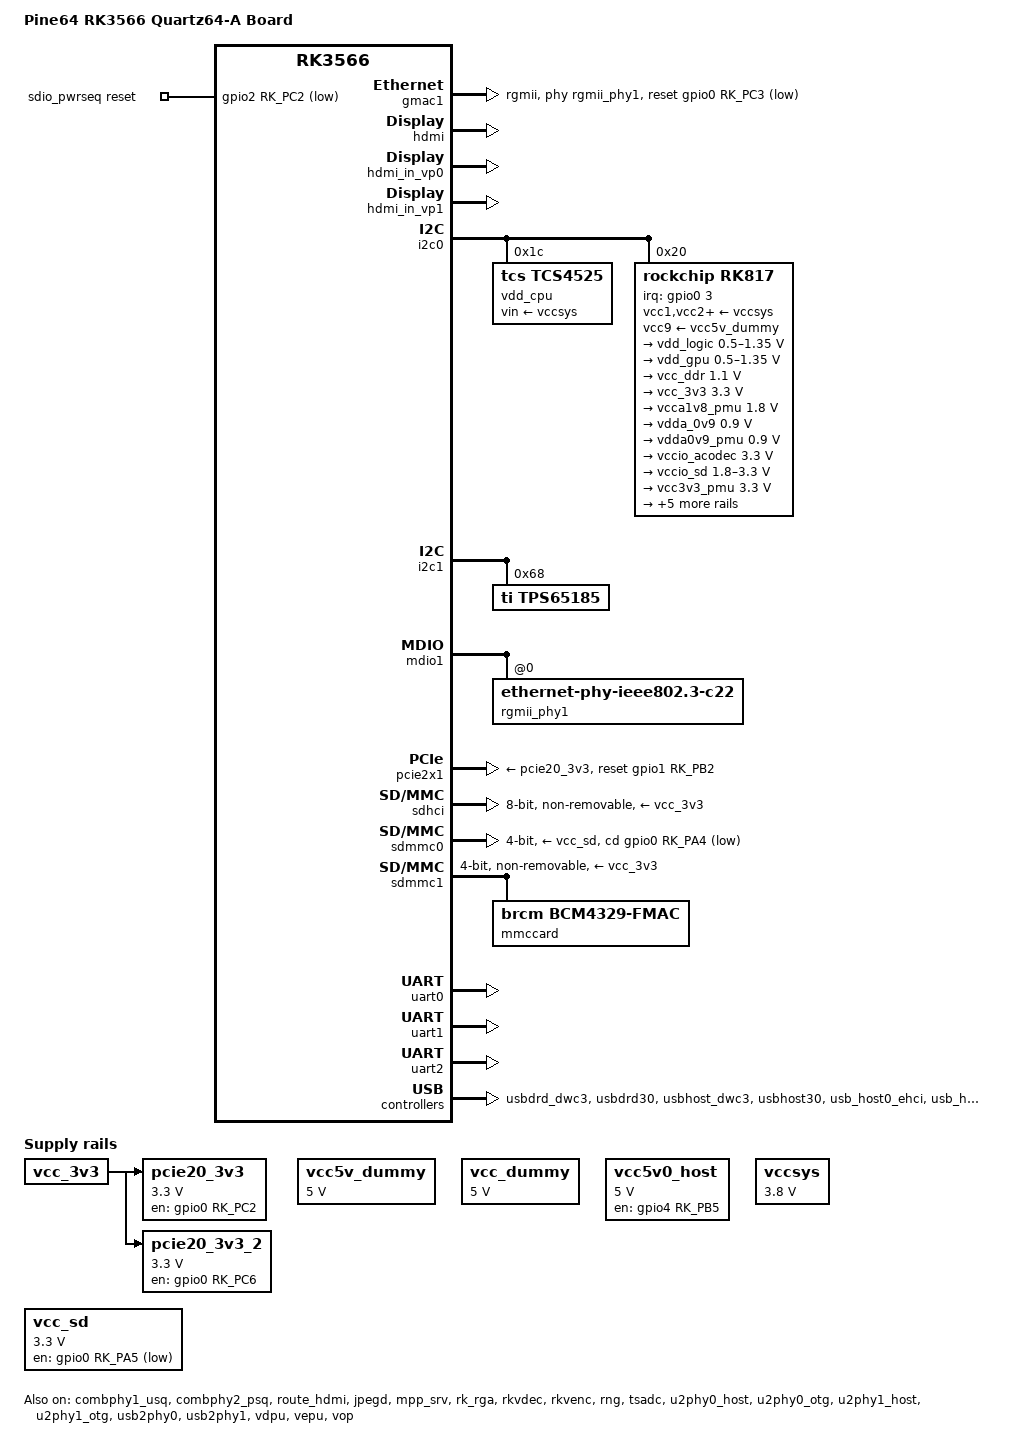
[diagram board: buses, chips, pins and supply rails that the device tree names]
// SPDX-License-Identifier: (GPL-2.0+ OR MIT)
/*
 *
 */

/dts-v1/;

#include <dt-bindings/gpio/gpio.h>
#include <dt-bindings/pinctrl/rockchip.h>
#include "rk3566.dtsi"

/ {
	model = "Pine64 RK3566 Quartz64-A Board";
	compatible = "rockchip,rk3566-quartz64-a", "rockchip,rk3566";

	aliases {
		mmc0 = &sdmmc0;
		mmc1 = &sdhci;
		mmc2 = &sdmmc1;
		mmc3 = &sdmmc2;
	};

	chosen: chosen {
	};

	pcie20_3v3: pcie20_3v3 {
		compatible = "regulator-fixed";
		regulator-name = "pcie20_3v3";
		regulator-min-microvolt = <3300000>;
		regulator-max-microvolt = <3300000>;
		gpio = <&gpio0 RK_PC2 GPIO_ACTIVE_HIGH>;
		enable-active-high;
		regulator-always-on;
		vin-supply = <&vcc_3v3>;
	};

	pcie20_3v3_2: pcie20_3v3_2 {
		compatible = "regulator-fixed";
		regulator-name = "pcie20_3v3_2";
		regulator-min-microvolt = <3300000>;
		regulator-max-microvolt = <3300000>;
		gpio = <&gpio0 RK_PC6 GPIO_ACTIVE_HIGH>;
		enable-active-high;
		regulator-always-on;
		vin-supply = <&vcc_3v3>;
	};

	vcc5v_dummy: vcc5v_dummy {
		compatible = "regulator-fixed";
		regulator-name = "vcc5v_dummy";
		regulator-min-microvolt = <5000000>;
		regulator-max-microvolt = <5000000>;
		regulator-always-on;
	};

	vcc_dummy: vcc_dummy {
		compatible = "regulator-fixed";
		regulator-name = "vcc_dummy";
		regulator-min-microvolt = <5000000>;
		regulator-max-microvolt = <5000000>;
		regulator-always-on;
	};

	vcc5v0_host: vcc5v0_host {
		compatible = "regulator-fixed";
		regulator-name = "vcc5v0_host";
		regulator-min-microvolt = <5000000>;
		regulator-max-microvolt = <5000000>;
		gpio = <&gpio4 RK_PB5 GPIO_ACTIVE_HIGH>;
		enable-active-high;
		regulator-always-on;
//		pinctrl-names = "default";
//		pinctrl-0 = <&vcc5_gpio>;
	};

/*	vcc5v0_bt: vcc5v0_bt {
		compatible = "regulator-fixed";
		regulator-name = "vcc5v0_bt";
		regulator-min-microvolt = <5000000>;
		regulator-max-microvolt = <5000000>;
		gpio = <&gpio2 RK_PB7 GPIO_ACTIVE_HIGH>;
		enable-active-high;
		regulator-always-on;
	};
*/
	vcc5v0_wifi: vcc5v0_wifi {
		compatible = "regulator-fixed";
		regulator-name = "vcc5v0_wifi";
		regulator-min-microvolt = <5000000>;
		regulator-max-microvolt = <5000000>;
		gpio = <&gpio2 RK_PC2 GPIO_ACTIVE_HIGH>;
		enable-active-high;
		regulator-always-on;
		status = "disabled";
	};

	hdmi_sound: hdmi-sound {
		compatible = "simple-audio-card";
		simple-audio-card,format = "i2s";
		simple-audio-card,mclk-fs = <256>;
		simple-audio-card,name = "rockchip,hdmi";
		status = "okay";

		simple-audio-card,cpu {
				sound-dai = <&i2s0_8ch>;
		};
		simple-audio-card,codec {
				sound-dai = <&hdmi>;
		};
	};

	vccsys: vccsys {
		compatible = "regulator-fixed";
		regulator-name = "vcc3v8_sys";
		regulator-always-on;
		regulator-boot-on;
		regulator-min-microvolt = <3800000>;
		regulator-max-microvolt = <3800000>;
	};

	rk817-sound {
		compatible = "simple-audio-card";
		simple-audio-card,format = "i2s";
		simple-audio-card,name = "rockchip,rk817-codec";
		simple-audio-card,mclk-fs = <256>;

		simple-audio-card,cpu {
			sound-dai = <&i2s1_8ch>;
		};
		simple-audio-card,codec {
			sound-dai = <&rk817_codec>;
		};
	};

	sdio_pwrseq: sdio-pwrseq {
		status = "okay";
		compatible = "mmc-pwrseq-simple";
		clocks = <&rk817 1>;
		clock-names = "ext_clock";
//		pinctrl-names = "default";
//		pinctrl-0 = <&wifi_enable_h>;
		post-power-on-delay-ms = <100>;
		power-off-delay-us = <5000000>;

		/*
		 * On the module itself this is one of these (depending
		 * on the actual card populated):
		 * - SDIO_RESET_L_WL_REG_ON
		 * - PDN (power down when low)
		 */
		reset-gpios = <&gpio2 RK_PC2 GPIO_ACTIVE_LOW>;
	};

	vcc_sd: vcc-sd {
		compatible = "regulator-fixed";
		enable-active-low;
		gpio = <&gpio0 RK_PA5 GPIO_ACTIVE_LOW>;
		regulator-min-microvolt = <3300000>;
		regulator-max-microvolt = <3300000>;
		pinctrl-names = "default";
		pinctrl-0 = <&vcc_sd_h>;
		regulator-name = "vcc_sd";
	};

	wireless-wlan {
		compatible = "wlan-platdata";
		rockchip,grf = <&grf>;
		wifi_chip_type = "ap6255";
//		pinctrl-names = "default";
//		pinctrl-0 = <&wifi_host_wake_irq>;
		WIFI,host_wake_irq = <&gpio2 RK_PB2 GPIO_ACTIVE_HIGH>;
		status = "disabled";
	};

	wireless-bluetooth {
		compatible = "bluetooth-platdata";
		clocks = <&rk817 1>;
		clock-names = "ext_clock";
		//wifi-bt-power-toggle;
		uart_rts_gpios = <&gpio2 RK_PB5 GPIO_ACTIVE_LOW>;
//		pinctrl-names = "default", "rts_gpio";
//		pinctrl-0 = <&uart1m0_rtsn>;
//		pinctrl-1 = <&uart1_gpios>;
		BT,reset_gpio    = <&gpio2 RK_PB7 GPIO_ACTIVE_HIGH>;
		BT,wake_gpio     = <&gpio2 RK_PC1 GPIO_ACTIVE_HIGH>;
		BT,wake_host_irq = <&gpio2 RK_PC0 GPIO_ACTIVE_HIGH>;
		status = "disabled";
	};
};

&combphy1_usq {
	status = "okay";
};

&combphy2_psq {
	status = "okay";

};

&cpu0 {
	cpu-supply = <&vdd_cpu>;
};

&cpu1 {
	cpu-supply = <&vdd_cpu>;
};

&cpu2 {
	cpu-supply = <&vdd_cpu>;
};

&cpu3 {
	cpu-supply = <&vdd_cpu>;
};

&dmac0 {
	status = "disabled";
};

&dmac1 {
	status = "disabled";
};

&gmac1 {
	phy-mode = "rgmii";
	clock_in_out = "input";

	snps,reset-gpio = <&gpio0 RK_PC3 GPIO_ACTIVE_LOW>;
	snps,reset-active-low;
	/* Reset time is 20ms, 100ms for rtl8211f */
	snps,reset-delays-us = <0 20000 100000>;

	assigned-clocks = <&cru SCLK_GMAC1_RX_TX>, <&cru SCLK_GMAC1_RGMII_SPEED>, <&cru SCLK_GMAC1>;
	assigned-clock-parents = <&cru SCLK_GMAC1_RGMII_SPEED>, <&cru SCLK_GMAC1>, <&gmac1_clkin>;

	pinctrl-names = "default";
	pinctrl-0 = <&gmac1m0_miim
		     &gmac1m0_tx_bus2
		     &gmac1m0_rx_bus2
		     &gmac1m0_rgmii_clk
		     &gmac1m0_clkinout
		     &gmac1m0_rgmii_bus>;

//	tx_delay = <0x4f>;
//	rx_delay = <0x25>;

	phy-handle = <&rgmii_phy1>;
	status = "okay";
};

&gpu {
	mali-supply = <&vdd_gpu>;
//	status = "okay";
};

&gpu_opp_table {
	/delete-node/ opp-200000000;
};

&hdmi {
	status = "okay";
};

&hdmi_in_vp0 {
	status = "okay";
};

&hdmi_in_vp1 {
	status = "okay";
};

&hdmi_sound {
	status = "okay";
};

&route_hdmi {
	status = "okay";
};

&i2c0 {
	status = "okay";

	vdd_cpu: regulator@1c {
		compatible = "tcs,tcs4525";
		reg = <0x1c>;
		fcs,suspend-voltage-selector = <1>;
		regulator-name = "vdd_cpu";
		regulator-min-microvolt = <800000>;
//		regulator-max-microvolt = <1390000>;
		regulator-max-microvolt = <1150000>;
		regulator-ramp-delay = <2300>;
		regulator-always-on;
		regulator-boot-on;
		vin-supply = <&vccsys>;

		regulator-state-mem {
//			regulator-off-in-suspend;
		};
	};

	rk817: pmic@20 {
		compatible = "rockchip,rk817";
		reg = <0x20>;
		interrupt-parent = <&gpio0>;
		interrupts = <3 IRQ_TYPE_LEVEL_LOW>;

//		pinctrl-names = "default";
	//	pinctrl-names = "default", "pmic-sleep",
	//			"pmic-power-off", "pmic-reset";
//		pinctrl-0 = <&pmic_int>;
	//	pinctrl-1 = <&soc_slppin_slp>, <&rk817_slppin_slp>;
	//	pinctrl-2 = <&soc_slppin_gpio>, <&rk817_slppin_pwrdn>;
	//	pinctrl-3 = <&soc_slppin_gpio>, <&rk817_slppin_rst>;
		rockchip,system-power-controller;
		wakeup-source;
		#clock-cells = <1>;
		clock-output-names = "rk808-clkout1", "rk808-clkout2";
		//fb-inner-reg-idxs = <2>;
		/* 1: rst regs (default in codes), 0: rst the pmic */
		pmic-reset-func = <0>;

		vcc1-supply = <&vccsys>;
		vcc2-supply = <&vccsys>;
		vcc3-supply = <&vccsys>;
		vcc4-supply = <&vccsys>;
		vcc5-supply = <&vccsys>;
		vcc6-supply = <&vccsys>;
		vcc7-supply = <&vccsys>;
		vcc8-supply = <&vccsys>;
		vcc9-supply = <&vcc5v_dummy>;

		pwrkey {
			status = "okay";
		};

		pinctrl_rk8xx: pinctrl_rk8xx {
			gpio-controller;
			#gpio-cells = <2>;

			rk817_slppin_null: rk817_slppin_null {
				pins = "gpio_slp";
				function = "pin_fun0";
			};

			rk817_slppin_slp: rk817_slppin_slp {
				pins = "gpio_slp";
				function = "pin_fun1";
			};

			rk817_slppin_pwrdn: rk817_slppin_pwrdn {
				pins = "gpio_slp";
				function = "pin_fun2";
			};

			rk817_slppin_rst: rk817_slppin_rst {
				pins = "gpio_slp";
				function = "pin_fun3";
			};
		};

		regulators {
			vdd_logic: DCDC_REG1 {
				regulator-always-on;
				regulator-boot-on;
				regulator-min-microvolt = <500000>;
				regulator-max-microvolt = <1350000>;
				regulator-init-microvolt = <900000>;
				regulator-ramp-delay = <6001>;
				regulator-initial-mode = <0x2>;
				regulator-name = "vdd_logic";
				regulator-state-mem {
					regulator-on-in-suspend;
					regulator-suspend-microvolt = <900000>;
				};
			};

			vdd_gpu: DCDC_REG2 {
				regulator-always-on;
				regulator-boot-on;
				regulator-min-microvolt = <500000>;
				regulator-max-microvolt = <1350000>;
				regulator-init-microvolt = <900000>;
				regulator-ramp-delay = <6001>;
				regulator-initial-mode = <0x2>;
				regulator-name = "vdd_gpu";
					regulator-state-mem {
					regulator-off-in-suspend;
				};
			};

			vcc_ddr: DCDC_REG3 {
				regulator-always-on;
				regulator-boot-on;
				regulator-min-microvolt = <1100000>;
				regulator-max-microvolt = <1100000>;
				regulator-initial-mode = <0x2>;
				regulator-name = "vcc_ddr";
				regulator-state-mem {
					regulator-on-in-suspend;
				};
			};

			vcc_3v3: DCDC_REG4 {
				regulator-always-on;
				regulator-boot-on;
				regulator-min-microvolt = <3300000>;
				regulator-max-microvolt = <3300000>;
				regulator-initial-mode = <0x2>;
				regulator-name = "vcc_3v3";
				regulator-state-mem {
					regulator-off-in-suspend;
				};
			};

			vcca1v8_pmu: LDO_REG1 {
				regulator-always-on;
				regulator-boot-on;
				regulator-min-microvolt = <1800000>;
				regulator-max-microvolt = <1800000>;
				regulator-name = "vcca1v8_pmu";
				regulator-state-mem {
					regulator-on-in-suspend;
					regulator-suspend-microvolt = <1800000>;
				};
			};

			vdda_0v9: LDO_REG2 {
				regulator-always-on;
				regulator-boot-on;
				regulator-min-microvolt = <900000>;
				regulator-max-microvolt = <900000>;
				regulator-name = "vdda_0v9";
				regulator-state-mem {
					regulator-off-in-suspend;
				};
			};

			vdda0v9_pmu: LDO_REG3 {
				regulator-always-on;
				regulator-boot-on;
				regulator-min-microvolt = <900000>;
				regulator-max-microvolt = <900000>;
				regulator-name = "vdda0v9_pmu";
				regulator-state-mem {
					regulator-on-in-suspend;
					regulator-suspend-microvolt = <900000>;
				};
			};

			vccio_acodec: LDO_REG4 {
				regulator-always-on;
				regulator-boot-on;
				regulator-min-microvolt = <3300000>;
				regulator-max-microvolt = <3300000>;
				regulator-name = "vccio_acodec";
				regulator-state-mem {
					regulator-off-in-suspend;
				};
			};

			vccio_sd: LDO_REG5 {
				regulator-always-on;
				regulator-boot-on;
				regulator-min-microvolt = <1800000>;
				regulator-max-microvolt = <3300000>;
				regulator-name = "vccio_sd";
				regulator-state-mem {
					regulator-off-in-suspend;
				};
			};

			vcc3v3_pmu: LDO_REG6 {
				regulator-always-on;
				regulator-boot-on;
				regulator-min-microvolt = <3300000>;
				regulator-max-microvolt = <3300000>;
				regulator-name = "vcc3v3_pmu";
				regulator-state-mem {
					regulator-on-in-suspend;
					regulator-suspend-microvolt = <3300000>;
				};
			};

			vcc_1v8: LDO_REG7 {
				regulator-always-on;
				regulator-boot-on;
				regulator-min-microvolt = <1800000>;
				regulator-max-microvolt = <1800000>;
				regulator-name = "vcc_1v8";
				regulator-state-mem {
					regulator-off-in-suspend;
				};
			};

			vcc1v8_dvp: LDO_REG8 {
				regulator-always-on;
				regulator-boot-on;
				regulator-min-microvolt = <1800000>;
				regulator-max-microvolt = <1800000>;
				regulator-name = "vcc1v8_dvp";
				regulator-state-mem {
					regulator-off-in-suspend;
				};
			};

			vcc2v8_dvp: LDO_REG9 {
				regulator-always-on;
				regulator-boot-on;
				regulator-min-microvolt = <2800000>;
				regulator-max-microvolt = <2800000>;
				regulator-name = "vcc2v8_dvp";
				regulator-state-mem {
					regulator-off-in-suspend;
				};
			};

			dcdc_boost: BOOST {
				regulator-always-on;
				regulator-boot-on;
				regulator-min-microvolt = <5000000>;
				regulator-max-microvolt = <5000000>;
				regulator-name = "boost";
				regulator-state-mem {
					regulator-off-in-suspend;
				};
			};

			otg_switch: OTG_SWITCH {
				regulator-name = "otg_switch";
				regulator-state-mem {
					regulator-off-in-suspend;
				};
			};
		};

		battery {
			compatible = "rk817,battery";
			ocv_table = <3400 3513 3578 3687 3734 3752 3763
				     3766 3771 3784 3804 3836 3885 3925
				     3962 4005 4063 4114 4169 4227 4303>;
			design_capacity = <5000>;
			design_qmax = <5500>;
			bat_res = <100>;
			sleep_enter_current = <150>;
			sleep_exit_current = <180>;
			sleep_filter_current = <100>;
			power_off_thresd = <3450>;
			zero_algorithm_vol = <3850>;
			max_soc_offset = <60>;
			monitor_sec = <5>;
			sample_res = <10>;
			virtual_power = <0>;
		};

		charger {
			compatible = "rk817,charger";
			min_input_voltage = <4500>;
			max_input_current = <1500>;
			max_chrg_current = <2000>;
			max_chrg_voltage = <4300>;
			chrg_term_mode = <0>;
			chrg_finish_cur = <300>;
			virtual_power = <0>;
			dc_det_adc = <0>;
		//	extcon = <&usb2phy0>;
		};

		rk817_codec: codec {
			#sound-dai-cells = <0>;
			compatible = "rockchip,rk817-codec";
			clocks = <&cru I2S1_MCLKOUT_TX>;
			clock-names = "mclk";
			assigned-clocks = <&cru I2S1_MCLKOUT_TX>;
			assigned-clock-parents = <&cru CLK_I2S1_8CH_TX>;
			pinctrl-names = "default";
			pinctrl-0 = <&i2s1m0_mclk>;
			hp-volume = <20>;
			spk-volume = <3>;
			out-l2spk-r2hp;
			spk-ctl-gpios = <&gpio0 RK_PA6 GPIO_ACTIVE_HIGH>;
			status = "okay";
		};
	};
};

&i2c1 {
	status = "okay";
	tps65185: tps65185@68 {
		status = "okay";
		compatible = "ti,tps65185";
		reg = <0x68>;
//		pinctrl-names = "default";
//		pinctrl-0 = <&tps65185_gpio>;
//		wakeup-gpios = <&gpio3 RK_PA5 GPIO_ACTIVE_HIGH>;
//		vcomctl-gpios = <&gpio4 RK_PB2 GPIO_ACTIVE_HIGH>;
//		powerup-gpios = <&gpio3 RK_PB0 GPIO_ACTIVE_HIGH>;
	};
};

&i2c2 {
//	status = "okay";
};

&i2c3 {
//	status = "okay";
//	pinctrl-names = "default";
//	pinctrl-0 = <&i2c3m1_xfer>;
};

&i2c5 {
//	status = "okay";
};

&jpegd {
	status = "okay";
};

&jpegd_mmu {
	status = "okay";
};

&mdio1 {
	rgmii_phy1: ethernet-phy@0 {
		compatible = "ethernet-phy-ieee802.3-c22";
		device-type = "ethernet-phy";
	};
};

&mipi_dphy0 {
	status = "disabled";
};

&mpp_srv {
	status = "okay";
};

&nandc0 {
	status = "disabled";
};

&pcie2x1 {
	reset-gpios = <&gpio1 RK_PB2 GPIO_ACTIVE_HIGH>;
	status = "okay";
	vpcie3v3-supply = <&pcie20_3v3>;
};

&pinctrl {
/*
	tps_pmic {
		tps65185_gpio: tps65185-gpio {
			rockchip,pins =
					<4 RK_PB2 RK_FUNC_GPIO &pcfg_pull_up>,
					<3 RK_PA5 RK_FUNC_GPIO &pcfg_pull_up>,
					<3 RK_PB0 RK_FUNC_GPIO &pcfg_pull_up>;
		};
	};

	headphone {
		hp_det: hp-det {
			rockchip,pins = <4 RK_PC4 RK_FUNC_GPIO &pcfg_pull_down>;
		};
	};

	sensor {
		kxtj3_irq_gpio: kxtj3-irq-gpio {
			rockchip,pins = <4 RK_PC6 RK_FUNC_GPIO &pcfg_pull_none>;
		};
	};

	pmic {
		pmic_int: pmic_int {
			rockchip,pins =
				<0 RK_PA3 RK_FUNC_GPIO &pcfg_pull_up>;
		};

		soc_slppin_gpio: soc_slppin_gpio {
			rockchip,pins =
				<0 RK_PA2 RK_FUNC_GPIO &pcfg_output_low>;
		};

		soc_slppin_slp: soc_slppin_slp {
			rockchip,pins =
				<0 RK_PA2 1 &pcfg_pull_none>;
		};

		soc_slppin_rst: soc_slppin_rst {
			rockchip,pins =
				<0 RK_PA2 2 &pcfg_pull_none>;
		};
	};

	sdio-pwrseq {
		wifi_enable_h: wifi-enable-h {
			rockchip,pins = <2 RK_PC2 RK_FUNC_GPIO &pcfg_pull_none>;
		};
	};

*/
	vcc_sd {
		vcc_sd_h: vcc-sd-h {
			rockchip,pins = <0 RK_PA5 RK_FUNC_GPIO &pcfg_pull_none>;
		};
	};
/*
	wireless-wlan {
		wifi_host_wake_irq: wifi-host-wake-irq {
			rockchip,pins = <2 RK_PB2 RK_FUNC_GPIO &pcfg_pull_down>;
		};
	};

	wireless-bluetooth {
		uart1_gpios: uart1-gpios {
			rockchip,pins = <2 RK_PB5 RK_FUNC_GPIO &pcfg_pull_none>;
		};
	};

	vcc5-host {
		vcc5_gpio: vcc5-gpio {
			rockchip,pins = <4 RK_PB4 RK_FUNC_GPIO &pcfg_pull_none>;
		};
	};
*/
};

&pmu_io_domains {
	status = "okay";
	pmuio1-supply = <&vcc3v3_pmu>;
	pmuio2-supply = <&vcc3v3_pmu>;
	vccio1-supply = <&vccio_acodec>;
	vccio2-supply = <&vcc_1v8>;
	vccio3-supply = <&vccio_sd>;
	vccio4-supply = <&vcc_1v8>;
	vccio5-supply = <&vcc_3v3>;
	vccio6-supply = <&vcc1v8_dvp>;
	vccio7-supply = <&vcc_3v3>;
};

&pwm4 {
	status = "disabled";
};

&reserved_memory {

	ramoops: ramoops@110000 {
		compatible = "ramoops";
		reg = <0x0 0x110000 0x0 0xf0000>;
		record-size = <0x20000>;
		console-size = <0x80000>;
		ftrace-size = <0x00000>;
		pmsg-size = <0x50000>;
	};
};

&rk_rga {
	status = "okay";
};

&rkvdec {
	status = "okay";
};

&rkvdec_mmu {
	status = "okay";
};

&rkvenc {
	status = "okay";
};

&rkvenc_mmu {
	status = "okay";
};

&rng {
	status = "okay";
};

&saradc {
	status = "disabled";
	vref-supply = <&vcc_1v8>;
};

&sdhci {
	bus-width = <8>;
	non-removable;
	keep-power-in-suspend;
//	rockchip,txclk-tapnum = <0x8>;
	max-frequency = <200000000>;
//	max-frequency = <50000000>;
	status = "okay";
	vmmc-supply = <&vcc_3v3>;
	vqmmc-supply = <&vcc_1v8>;
	pinctrl-names = "default";
	pinctrl-0 = <&emmc_bus8 &emmc_clk &emmc_cmd &emmc_datastrobe>;
};

&sdmmc0 {
	max-frequency = <50000000>;
	supports-sd;
	bus-width = <4>;
	cap-mmc-highspeed;
	cap-sd-highspeed;
	disable-wp;
	sd-uhs-sdr104;
	vmmc-supply = <&vcc_sd>;
	vqmmc-supply = <&vccio_sd>;
	pinctrl-names = "default";
	pinctrl-0 = <&sdmmc0_bus4 &sdmmc0_clk &sdmmc0_cmd &sdmmc0_det>;
	cd-gpios = <&gpio0 RK_PA4 GPIO_ACTIVE_LOW>;
	status = "okay";
};

&sdmmc1 {
//	max-frequency = <150000000>;
	bus-width = <4>;
	cap-sd-highspeed;
	cap-sdio-irq;
	keep-power-in-suspend;
	mmc-pwrseq = <&sdio_pwrseq>;
	non-removable;
	vmmc-supply = <&vcc_3v3>;
	vqmmc-supply = <&vcca1v8_pmu>;
	pinctrl-names = "default";
	pinctrl-0 = <&sdmmc1_bus4 &sdmmc1_cmd &sdmmc1_clk>;
	sd-uhs-sdr104;
	status = "okay";
//	rockchip,default-sample-phase = <90>;
//	assigned-clocks = <&cru CLK_SDMMC1>;
//	assigned-clock-parents = <&cru CPLL_100M>;

	mmccard: mmccard {
//		compatible = "mmc-card";
		compatible = "brcm,bcm4329-fmac";
	};
};

&tsadc {
	status = "okay";
};

&uart0 {
	status = "okay";
	pinctrl-names = "default";
	pinctrl-0 = <&uart0_xfer>;
};

&uart1 {
	status = "okay";
	pinctrl-names = "default";
	pinctrl-0 = <&uart1m0_xfer &uart1m0_ctsn>;
	uart-has-rtscts;

	bluetooth {
//		compatible = "brcm,bcm4345c5";
//		compatible = "realtek,rtl8723bs-bt";
		clocks = <&rk817 1>;
		clock-names = "lpo";
//		device-wake-gpios = <&gpio2 RK_PC1 GPIO_ACTIVE_HIGH>; /* PL5 */
//		host-wake-gpios = <&gpio2 RK_PC0 GPIO_ACTIVE_HIGH>; /* PL6 */
        };
};

&uart2 {
	status = "okay";
};

&u2phy0_host {
	phy-supply = <&vcc5v0_host>;
	status = "okay";
};

&u2phy0_otg {
	vbus-supply = <&vcc5v0_host>;
	status = "okay";
};

&sata1 {
//	status = "okay";
};

&sata2 {
//	status = "okay";
};

&u2phy1_host {
	phy-supply = <&vcc5v0_host>;
	status = "okay";
};

&u2phy1_otg {
	phy-supply = <&vcc5v0_host>;
	status = "okay";
};

&usb2phy0 {
	status = "okay";
};

&usbdrd_dwc3 {
	status = "okay";
};

&usbdrd30 {
	status = "okay";
};

&usbhost_dwc3 {
	status = "okay";
};

&usbhost30 {
	status = "okay";
};

&usb_host0_ehci {
	status = "okay";
};

&usb_host0_ohci {
	status = "okay";
};

&usb_host1_ehci {
	status = "okay";
};

&usb_host1_ohci {
	status = "okay";
};

&usb2phy0 {
	status = "okay";
};

&usb2phy1 {
	status = "okay";
};

&vdpu {
	status = "okay";
};

&vdpu_mmu {
	status = "okay";
};

&vepu {
	status = "okay";
};

&vepu_mmu {
	status = "okay";
};

&vop {
	status = "okay";
	support-multi-area;
};

&vop_mmu {
	status = "okay";
};
